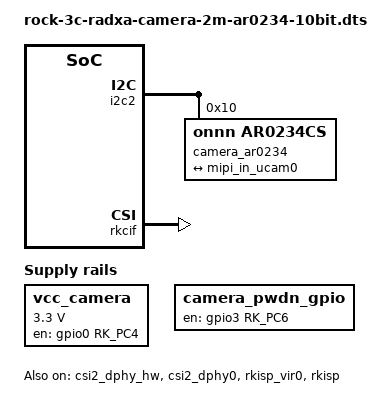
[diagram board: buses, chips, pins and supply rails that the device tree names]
/dts-v1/;
/plugin/;

#include <dt-bindings/gpio/gpio.h>
#include <dt-bindings/pinctrl/rockchip.h>

/ {
	metadata {
		title = "Enable Radxa Camera 2M AR0234 with RAW10 format";
		compatible = "radxa,rock-3c";
		category = "camera";
		exclusive = "GPIO0_C4", "GPIO3_C6", "csi2_dphy0", "i2c2";
		description = "Enable Radxa Camera 2M AR0234 with RAW10 format.";
	};
};

&{/} {
	vcc_camera: vcc-camera {
		status = "okay";
		compatible = "regulator-fixed";
		regulator-name = "vcc_camera";
		gpio = <&gpio0 RK_PC4 GPIO_ACTIVE_HIGH>;
		enable-active-high;
		regulator-min-microvolt = <3300000>;
		regulator-max-microvolt = <3300000>;
		regulator-always-on;
		regulator-boot-on;
	};

	camera_pwdn_gpio: camera-pwdn-gpio {
		status = "okay";
		compatible = "regulator-fixed";
		regulator-name = "camera_pwdn_gpio";
		regulator-always-on;
		regulator-boot-on;
		enable-active-high;
		gpio = <&gpio3 RK_PC6 GPIO_ACTIVE_HIGH>;
	};
};

&i2c2 {
	status = "okay";
	pinctrl-names = "default";
	pinctrl-0 = <&i2c2m1_xfer>;
	#address-cells = <1>;
	#size-cells = <0>;

	camera_ar0234: camera-ar0234@10 {
		status = "okay";
		compatible = "onnn,ar0234cs";
		reg = <0x10>;
		rockchip,camera-module-index = <0>;
		rockchip,camera-module-facing = "back";
		rockchip,camera-module-name = "default";
		rockchip,camera-module-lens-name = "default";

		port {
			ar0234_out: endpoint {
				remote-endpoint = <&mipi_in_ucam0>;
				data-lanes = <1 2>;
				link-frequencies = /bits/ 64 <450000000>;
			};
		};
	};
};

&csi2_dphy_hw {
	status = "okay";
};

&csi2_dphy0 {
	status = "okay";

	ports {
		#address-cells = <1>;
		#size-cells = <0>;

		port@0 {
			reg = <0>;
			#address-cells = <1>;
			#size-cells = <0>;

			mipi_in_ucam0: endpoint@1 {
				reg = <1>;
				remote-endpoint = <&ar0234_out>;
				data-lanes = <1 2>;
			};
		};

		port@1 {
			reg = <1>;
			#address-cells = <1>;
			#size-cells = <0>;

			dphy0_out: endpoint@1 {
				reg = <1>;
				remote-endpoint = <&isp0_in>;
			};
		};
	};
};

&rkisp_vir0 {
	status = "okay";

	port {
		#address-cells = <1>;
		#size-cells = <0>;

		isp0_in: endpoint@0 {
			reg = <0>;
			remote-endpoint = <&dphy0_out>;
		};
	};
};

&rkisp {
	status = "okay";
};

&rkisp_mmu {
	status = "okay";
};

&rkcif_mmu {
	status = "okay";
};

&rkcif {
	status = "okay";
};
